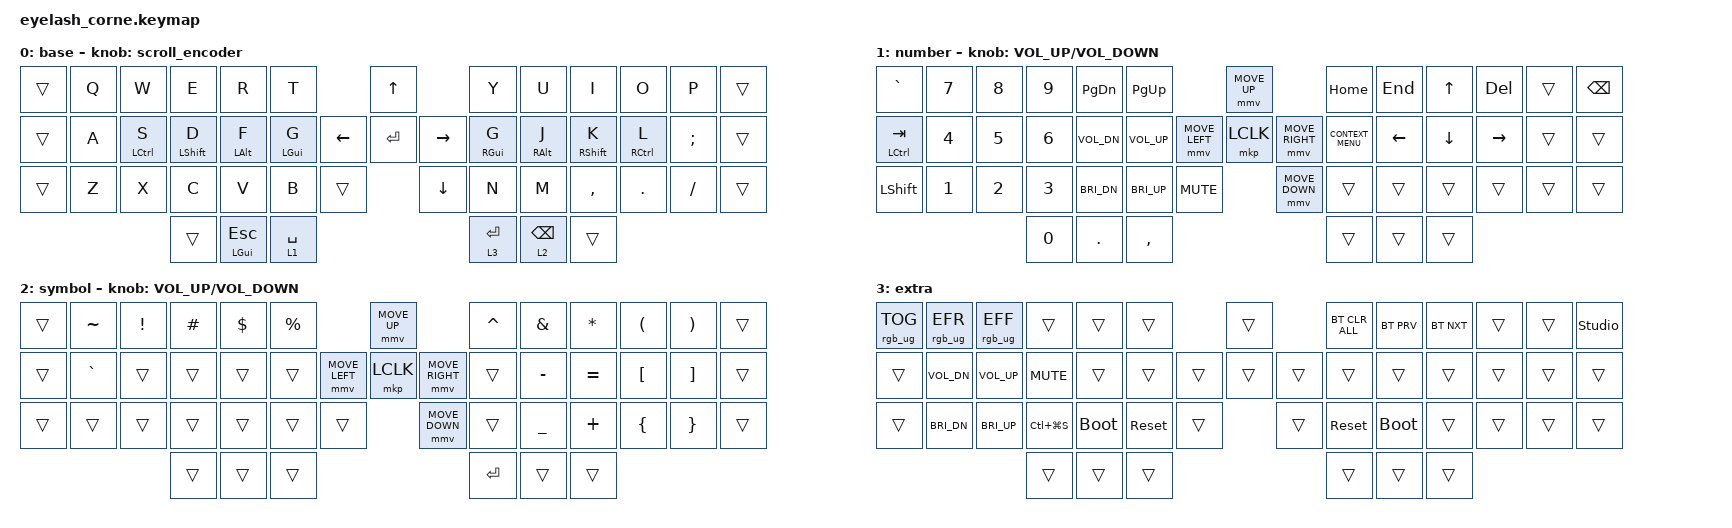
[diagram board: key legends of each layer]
#define ZMK_POINTING_DEFAULT_MOVE_VAL 600  // 600
#define ZMK_POINTING_DEFAULT_SCRL_VAL 80 // 10

#include <input/processors.dtsi>
#include <zephyr/dt-bindings/input/input-event-codes.h>
#include <behaviors.dtsi>
#include <dt-bindings/zmk/bt.h>
#include <dt-bindings/zmk/keys.h>
#include <dt-bindings/zmk/pointing.h>
#include <dt-bindings/zmk/rgb.h>

&mmv_input_listener { input-processors = <&zip_xy_scaler 2 1>; };

&msc_input_listener { input-processors = <&zip_scroll_scaler 2 1>; };

&msc {
    acceleration-exponent = <1>;      // 0
    time-to-max-speed-ms = <100>;       // 300
    delay-ms = <0>;                   // 0
};

&mmv {
    time-to-max-speed-ms = <500>;
    acceleration-exponent = <1>;
    trigger-period-ms = <16>;
};

/ {
    behaviors {
        home_row: home_row {
            compatible = "zmk,behavior-hold-tap";
            label = "HOME_ROW";
            bindings = <&kp>, <&kp>;

            #binding-cells = <2>;
            tapping-term-ms = <200>;
            flavor = "tap-preferred";
        };
    };

    rgb_encoder: rgb_encoder {
        compatible = "zmk,behavior-sensor-rotate";
        #sensor-binding-cells = <0>;
        bindings = <&rgb_ug RGB_BRI>, <&rgb_ug RGB_BRD>;
    };

    scroll_encoder: scroll_encoder {
        compatible = "zmk,behavior-sensor-rotate";
        #sensor-binding-cells = <0>;
        bindings = <&msc SCRL_DOWN>, <&msc SCRL_UP>;

        tap-ms = <100>;
    };

    combos {
        compatible = "zmk,combos";

        Escape {
            bindings = <&kp ESCAPE>;
            key-positions = <1 2>;
        };

        Tab {
            bindings = <&kp TAB>;
            key-positions = <14 15>;
        };

        lshift {
            bindings = <&kp LSHIFT>;
            key-positions = <29 30>;
        };

        rshift {
            bindings = <&kp RIGHT_SHIFT>;
            key-positions = <40 39>;
        };

        backspace {
            bindings = <&kp BACKSPACE>;
            key-positions = <11 10>;
        };
    };

    keymap {
        compatible = "zmk,keymap";

        base_layer {
            display-name = "base";
            bindings = <
&trans  &kp Q  &kp W              &kp E                   &kp R                  &kp T                                 &kp UP                &kp Y             &kp U                  &kp I                    &kp O              &kp P          &trans
&trans  &kp A  &home_row LCTRL S  &home_row LEFT_SHIFT D  &home_row LEFT_ALT F   &home_row LGUI G            &kp LEFT  &kp ENTER  &kp RIGHT  &home_row RGUI G  &home_row RIGHT_ALT J  &home_row RIGHT_SHIFT K  &home_row RCTRL L  &kp SEMICOLON  &trans
&trans  &kp Z  &kp X              &kp C                   &kp V                  &kp B             &trans              &kp DOWN              &kp N             &kp M                  &kp COMMA                &kp DOT            &kp SLASH      &trans
                                  &trans                  &home_row LGUI ESCAPE  &lt 1 SPACE                                                 &lt 3 ENTER       &lt 2 BACKSPACE        &trans
            >;

            sensor-bindings = <&scroll_encoder>;
        };

        number_layer {
            display-name = "number";
            bindings = <
&kp GRAVE       &kp N7        &kp N8        &kp N9        &kp PG_DN     &kp PG_UP                                   &mmv MOVE_UP                     &kp HOME            &kp END   &kp UP    &kp DEL    &trans  &kp BACKSPACE
&mt LCTRL TAB   &kp NUMBER_4  &kp N5        &kp NUMBER_6  &kp C_VOL_DN  &kp C_VOL_UP                &mmv MOVE_LEFT  &mkp LCLK       &mmv MOVE_RIGHT  &kp K_CONTEXT_MENU  &kp LEFT  &kp DOWN  &kp RIGHT  &trans  &trans
&kp LEFT_SHIFT  &kp NUMBER_1  &kp NUMBER_2  &kp NUMBER_3  &kp C_BRI_DN  &kp C_BRI_UP  &kp C_MUTE                    &mmv MOVE_DOWN                   &trans              &trans    &trans    &trans     &trans  &trans
                                            &kp NUMBER_0  &kp PERIOD    &kp COMMA                                                                    &trans              &trans    &trans
            >;

            sensor-bindings = <&inc_dec_kp C_VOLUME_UP K_VOLUME_DOWN>;
        };

        symbol_layer {
            display-name = "symbol";
            bindings = <
&trans  &kp TILDE  &kp EXCLAMATION  &kp HASH  &kp DOLLAR  &kp PERCENT                            &mmv MOVE_UP                     &kp CARET  &kp AMPERSAND   &kp ASTERISK  &kp LEFT_PARENTHESIS  &kp RIGHT_PARENTHESIS  &trans
&trans  &kp GRAVE  &trans           &trans    &trans      &trans                 &mmv MOVE_LEFT  &mkp LCLK       &mmv MOVE_RIGHT  &trans     &kp MINUS       &kp EQUAL     &kp LEFT_BRACKET      &kp RIGHT_BRACKET      &trans
&trans  &trans     &trans           &trans    &trans      &trans       &trans                    &mmv MOVE_DOWN                   &trans     &kp UNDERSCORE  &kp PLUS      &kp LEFT_BRACE        &kp RIGHT_BRACE        &trans
                                    &trans    &trans      &trans                                                                  &kp RET    &trans          &trans
            >;

            sensor-bindings = <&inc_dec_kp C_VOLUME_UP K_VOLUME_DOWN>;
        };

        extra_layer {
            display-name = "extra";
            bindings = <
&rgb_ug RGB_TOG  &rgb_ug RGB_EFR  &rgb_ug RGB_EFF  &trans         &trans       &trans                        &trans          &bt BT_CLR_ALL  &bt BT_PRV   &bt BT_NXT  &trans  &trans  &studio_unlock
&trans           &kp C_VOL_DN     &kp C_VOL_UP     &kp C_MUTE     &trans       &trans                &trans  &trans  &trans  &trans          &trans       &trans      &trans  &trans  &trans
&trans           &kp C_BRI_DN     &kp C_BRI_UP     &kp LC(LG(S))  &bootloader  &sys_reset  &trans            &trans          &sys_reset      &bootloader  &trans      &trans  &trans  &trans
                                                   &trans         &trans       &trans                                        &trans          &trans       &trans
            >;
        };
    };
};
